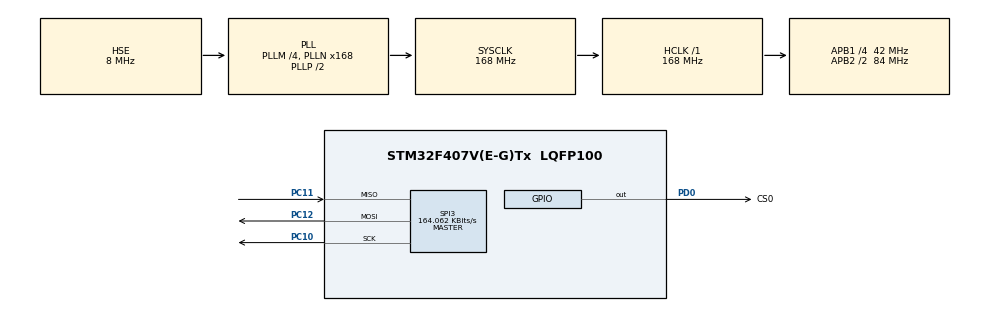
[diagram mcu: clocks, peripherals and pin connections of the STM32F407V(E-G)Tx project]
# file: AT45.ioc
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Mcu.Family=STM32F4
Mcu.Name=STM32F407V(E-G)Tx
Mcu.Package=LQFP100
NVIC.PriorityGroup=NVIC_PRIORITYGROUP_4
PA13.Mode=Serial_Wire
PA13.Signal=SYS_JTMS-SWDIO
PA14.Mode=Serial_Wire
PA14.Signal=SYS_JTCK-SWCLK
PC10.Mode=Full_Duplex_Master
PC10.Signal=SPI3_SCK
PC11.Mode=Full_Duplex_Master
PC11.Signal=SPI3_MISO
PC12.Mode=Full_Duplex_Master
PC12.Signal=SPI3_MOSI
PD0.GPIO_Label=CS0
PD0.GPIO_Speed=GPIO_SPEED_FREQ_VERY_HIGH
PD0.PinState=GPIO_PIN_SET
PD0.Signal=GPIO_Output
PH0-OSC_IN.Mode=HSE-External-Oscillator
PH0-OSC_IN.Signal=RCC_OSC_IN
PH1-OSC_OUT.Mode=HSE-External-Oscillator
PH1-OSC_OUT.Signal=RCC_OSC_OUT
ProjectManager.HeapSize=0x200
ProjectManager.StackSize=0x400
ProjectManager.TargetToolchain=EWARM V8.50
RCC.48MHZClocksFreq_Value=84000000
RCC.AHBFreq_Value=168000000
RCC.APB1CLKDivider=RCC_HCLK_DIV4
RCC.APB1Freq_Value=42000000
RCC.APB1TimFreq_Value=84000000
RCC.APB2CLKDivider=RCC_HCLK_DIV2
RCC.APB2Freq_Value=84000000
RCC.APB2TimFreq_Value=168000000
RCC.CortexFreq_Value=168000000
RCC.HCLKFreq_Value=168000000
RCC.HSE_VALUE=8000000
RCC.HSI_VALUE=16000000
RCC.LSE_VALUE=32768
RCC.PLLM=4
RCC.PLLN=168
RCC.PLLSourceVirtual=RCC_PLLSOURCE_HSE
RCC.SYSCLKFreq_VALUE=168000000
RCC.SYSCLKSource=RCC_SYSCLKSOURCE_PLLCLK
RCC.VCOOutputFreq_Value=336000000
SPI3.BaudRatePrescaler=SPI_BAUDRATEPRESCALER_256
SPI3.CalculateBaudRate=164.062 KBits/s
SPI3.Direction=SPI_DIRECTION_2LINES
SPI3.Mode=SPI_MODE_MASTER
SPI3.VirtualType=VM_MASTER
board=custom

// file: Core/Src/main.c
/* USER CODE BEGIN Header */
/**
 ******************************************************************************
 * @file           : main.c
 * @brief          : Main program body
 ******************************************************************************
 * @attention
 *
 * Copyright (c) 2023 STMicroelectronics.
 * All rights reserved.
 *
 * This software is licensed under terms that can be found in the LICENSE file
 * in the root directory of this software component.
 * If no LICENSE file comes with this software, it is provided AS-IS.
 *
 ******************************************************************************
 */
/* USER CODE END Header */
#include "main.h"
#include "gpio.h"
#include "spi.h"

/* USER CODE BEGIN Includes */
#include "AT45.h"
/* USER CODE END Includes */

/* USER CODE BEGIN PD */
// #define USE_IO_TERMINAL
#define PAGE         1408
#define PAGE_ADDRESS (PAGE * AT45_PAGE_SIZE)
/* USER CODE END PD */

/* USER CODE BEGIN PM */
#ifndef USE_IO_TERMINAL
#define printf(param, ...) ((void) 0)
#endif
/* USER CODE END PM */

/* USER CODE BEGIN PV */
AT45_HandleTypeDef AT45_Handle;
const uint8_t bufferWrite[] = {1, 2, 3, 4, 5, 6, 7, 8, 9, 0, 'A', 'B', 'C'};
uint8_t bufferRead[sizeof(bufferWrite)] = {0};
/* USER CODE END PV */

void SystemClock_Config(void);

int main(void)
{

    /* MCU Configuration--------------------------------------------------------*/

    /* Reset of all peripherals, Initializes the Flash interface and the Systick. */
    HAL_Init();

    /* Configure the system clock */
    SystemClock_Config();

    /* Initialize all configured peripherals */
    MX_GPIO_Init();
    MX_SPI3_Init();
    /* USER CODE BEGIN 2 */
    AT45_Init(&AT45_Handle, &hspi3, CS0_GPIO_Port, CS0_Pin);
    if (AT45_Handle.status == AT45_STATUS_READY)
    {
        // AT45_Erase(&AT45_Handle, AT45_CHIP_ERASE, NULL, AT45_WAIT_BUSY);
        printf("\r\n First approach to read \r\n");
        AT45_Read(&AT45_Handle, bufferRead, sizeof(bufferRead), PAGE_ADDRESS, true);
        if (memcmp(bufferRead, bufferWrite, sizeof(bufferRead)) == 0)
        {
            printf("Data already exist at page %i boundaries \r\n", PAGE);
        }
        else
        {
            printf("Data doesn't exist at page %i boundaries \r\n", PAGE);
            printf("Page programming...");
            AT45_Write(&AT45_Handle, bufferWrite, sizeof(bufferWrite), PAGE_ADDRESS, true, false, AT45_WAIT_BUSY);
            printf("\r\n Second approach to read \r\n");
            AT45_Read(&AT45_Handle, bufferRead, sizeof(bufferRead), PAGE_ADDRESS, true);
            if (memcmp(bufferRead, bufferWrite, sizeof(bufferRead)) == 0)
            {
                printf("Writing process success \r\n");
            }
            else
            {
                printf("Writing process failure \r\n");
                Error_Handler();
            }
        }
    }
    else
    {
        printf("Couldn't get any response from device \r\n");
        Error_Handler();
    }
    /* USER CODE END 2 */

    /* Infinite loop */
    while (1)
    {

    }
}

void SystemClock_Config(void)
{
    RCC_OscInitTypeDef RCC_OscInitStruct = {0};
    RCC_ClkInitTypeDef RCC_ClkInitStruct = {0};

    /** Configure the main internal regulator output voltage
     */
    __HAL_RCC_PWR_CLK_ENABLE();
    __HAL_PWR_VOLTAGESCALING_CONFIG(PWR_REGULATOR_VOLTAGE_SCALE1);

    /** Initializes the RCC Oscillators according to the specified parameters
     * in the RCC_OscInitTypeDef structure.
     */
    RCC_OscInitStruct.OscillatorType = RCC_OSCILLATORTYPE_HSE;
    RCC_OscInitStruct.HSEState = RCC_HSE_ON;
    RCC_OscInitStruct.PLL.PLLState = RCC_PLL_ON;
    RCC_OscInitStruct.PLL.PLLSource = RCC_PLLSOURCE_HSE;
    RCC_OscInitStruct.PLL.PLLM = 4;
    RCC_OscInitStruct.PLL.PLLN = 168;
    RCC_OscInitStruct.PLL.PLLP = RCC_PLLP_DIV2;
    RCC_OscInitStruct.PLL.PLLQ = 4;
    if (HAL_RCC_OscConfig(&RCC_OscInitStruct) != HAL_OK)
    {
        Error_Handler();
    }

    /** Initializes the CPU, AHB and APB buses clocks
     */
    RCC_ClkInitStruct.ClockType = RCC_CLOCKTYPE_HCLK | RCC_CLOCKTYPE_SYSCLK | RCC_CLOCKTYPE_PCLK1 | RCC_CLOCKTYPE_PCLK2;
    RCC_ClkInitStruct.SYSCLKSource = RCC_SYSCLKSOURCE_PLLCLK;
    RCC_ClkInitStruct.AHBCLKDivider = RCC_SYSCLK_DIV1;
    RCC_ClkInitStruct.APB1CLKDivider = RCC_HCLK_DIV4;
    RCC_ClkInitStruct.APB2CLKDivider = RCC_HCLK_DIV2;

    if (HAL_RCC_ClockConfig(&RCC_ClkInitStruct, FLASH_LATENCY_5) != HAL_OK)
    {
        Error_Handler();
    }
}

void Error_Handler(void)
{
    __disable_irq();
    while (1) {}
}
